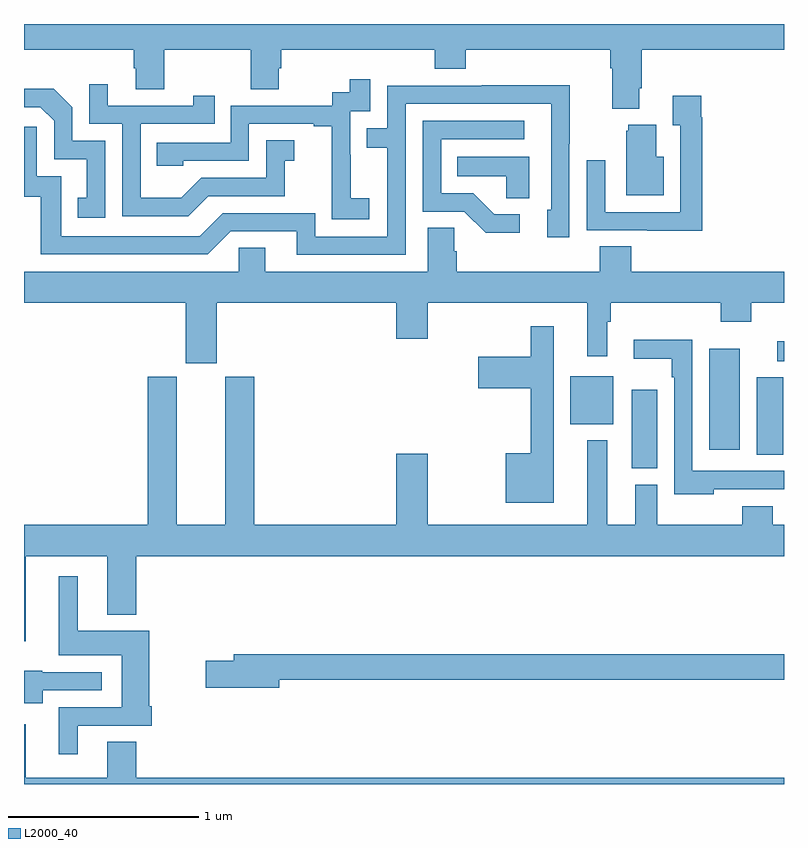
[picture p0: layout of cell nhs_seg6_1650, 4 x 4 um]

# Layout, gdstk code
import gdstk
lib = gdstk.Library(unit=1e-6, precision=1e-09)
def R(c, l, rs):  # rectangles x0, y0, x1, y1
    for r in rs: c.add(gdstk.rectangle(r[:2], r[2:], *l))
def P(c, l, *ps):  # polygons
    for p in ps: c.add(gdstk.Polygon(p, *l))
L2000_40 = (2000, 40)

nhs_seg6_1650 = lib.new_cell('nhs_seg6_1650')
R(nhs_seg6_1650, L2000_40, [(214.199,917.161,214.333,917.575), (214.856,917.233,214.996,917.641), (214.607,917.259,214.768,917.791), (213.875,917.393,214.102,917.647), (214.965,917.726,215,917.83)])
P(nhs_seg6_1650, L2000_40, [(214.237,919.162),(214.25,919.162),(214.25,919.364),(215,919.364),(215,919.5),(211,919.5),(211,919.364),(211.577,919.364),(211.577,919.266),(211.589,919.266),(211.589,919.156),(211.737,919.156),(211.737,919.364),(212.194,919.364),(212.194,919.156),(212.341,919.156),(212.341,919.266),(212.354,919.266),(212.354,919.364),(213.161,919.364),(213.161,919.265),(213.326,919.265),(213.326,919.364),(214.085,919.364),(214.085,919.268),(214.097,919.268),(214.097,919.055),(214.237,919.055)],
  [(212.818,918.583),(212.72,918.583),(212.72,918.812),(212.718,918.812),(212.718,919.041),(212.823,919.041),(212.823,919.21),(212.715,919.21),(212.715,919.14),(212.622,919.14),(212.622,919.071),(212.088,919.071),(212.088,918.876),(211.699,918.876),(211.699,918.753),(211.839,918.753),(211.839,918.78),(212.184,918.78),(212.184,918.975),(212.525,918.975),(212.525,918.963),(212.621,918.963),(212.621,918.679),(212.62,918.679),(212.62,918.473),(212.818,918.473)],
  [(211.969,918.594),(212.373,918.594),(212.373,918.779),(212.422,918.779),(212.422,918.889),(212.274,918.889),(212.274,918.69),(211.932,918.69),(211.828,918.586),(211.614,918.586),(211.614,918.975),(212.003,918.975),(212.003,919.123),(211.892,919.123),(211.892,919.071),(211.441,919.071),(211.441,919.183),(211.344,919.183),(211.344,918.975),(211.518,918.975),(211.518,918.489),(211.864,918.489)],
  [(213.009,919.08),(213.774,919.08),(213.774,918.522),(213.755,918.522),(213.755,918.378),(213.87,918.378),(213.87,918.871),(213.873,918.871),(213.873,919.178),(213.409,919.178),(213.409,919.176),(212.913,919.176),(212.913,918.951),(212.803,918.951),(212.803,918.85),(212.913,918.85),(212.913,918.381),(212.532,918.381),(212.532,918.504),(212.046,918.504),(211.926,918.384),(211.197,918.384),(211.197,918.699),(211.068,918.699),(211.068,918.958),(211,918.958),(211,918.591),(211.089,918.591),(211.089,918.288),(211.968,918.288),(212.088,918.408),(212.435,918.408),(212.435,918.285),(213.009,918.285)],
  [(211.428,918.885),(211.254,918.885),(211.254,919.062),(211.156,919.16),(211,919.16),(211,919.062),(211.086,919.062),(211.158,918.99),(211.158,918.789),(211.331,918.789),(211.331,918.585),(211.282,918.585),(211.282,918.48),(211.428,918.48)],
  [(214.571,919.01),(214.564,919.01),(214.564,919.123),(214.415,919.123),(214.415,918.967),(214.455,918.967),(214.455,918.51),(214.059,918.51),(214.059,918.784),(213.963,918.784),(213.963,918.414),(214.279,918.414),(214.279,918.413),(214.571,918.413)],
  [(213.61,918.498),(213.475,918.498),(213.364,918.609),(213.195,918.609),(213.195,918.894),(213.634,918.894),(213.634,918.99),(213.099,918.99),(213.099,918.513),(213.318,918.513),(213.431,918.401),(213.61,918.401)],
  [(214.366,918.802),(214.327,918.802),(214.327,918.97),(214.181,918.97),(214.181,918.939),(214.169,918.939),(214.169,918.599),(214.366,918.599)],
  [(213.658,918.802),(213.28,918.802),(213.28,918.698),(213.537,918.698),(213.537,918.583),(213.658,918.583)],
  [(212.014,918.032),(212.96,918.032),(212.96,917.844),(213.124,917.844),(213.124,918.032),(213.965,918.032),(213.965,917.751),(214.069,917.751),(214.069,917.932),(214.087,917.932),(214.087,918.032),(214.667,918.032),(214.667,917.933),(214.827,917.933),(214.827,918.032),(215,918.032),(215,918.196),(214.196,918.196),(214.196,918.329),(214.031,918.329),(214.031,918.196),(213.278,918.196),(213.278,918.305),(213.264,918.305),(213.264,918.428),(213.125,918.428),(213.125,918.196),(212.269,918.196),(212.269,918.323),(212.13,918.323),(212.13,918.196),(211,918.196),(211,918.032),(211.85,918.032),(211.85,917.715),(212.014,917.715)],
  [(213.787,917.908),(213.666,917.908),(213.666,917.749),(213.39,917.749),(213.39,917.584),(213.666,917.584),(213.666,917.242),(213.536,917.242),(213.536,916.979),(213.787,916.979)],
  [(214.629,917.052),(215,917.052),(215,917.148),(214.518,917.148),(214.518,917.837),(214.209,917.837),(214.209,917.738),(214.41,917.738),(214.41,917.642),(214.422,917.642),(214.422,917.024),(214.629,917.024)],
  [(211.009,916.7),(211.439,916.7),(211.439,916.391),(211.592,916.391),(211.592,916.7),(215,916.7),(215,916.864),(214.94,916.864),(214.94,916.963),(214.78,916.963),(214.78,916.864),(214.333,916.864),(214.333,917.076),(214.217,917.076),(214.217,916.864),(214.069,916.864),(214.069,917.308),(213.965,917.308),(213.965,916.864),(213.124,916.864),(213.124,917.239),(212.96,917.239),(212.96,916.864),(212.213,916.864),(212.213,917.643),(212.06,917.643),(212.06,916.864),(211.804,916.864),(211.804,917.643),(211.652,917.643),(211.652,916.864),(211,916.864),(211,916.251),(211.009,916.251)],
  [(211.282,915.807),(211.673,915.807),(211.673,915.91),(211.66,915.91),(211.66,916.306),(211.282,916.306),(211.282,916.594),(211.184,916.594),(211.184,916.178),(211.514,916.178),(211.514,915.903),(211.184,915.903),(211.184,915.657),(211.282,915.657)],
  [(212.344,916.048),(215,916.048),(215,916.184),(212.105,916.184),(212.105,916.148),(211.956,916.148),(211.956,916.006),(212.344,916.006)],
  [(211.099,915.993),(211.408,915.993),(211.408,916.089),(211.095,916.089),(211.095,916.097),(211,916.097),(211,915.926),(211.099,915.926)],
  [(215,915.532),(211.592,915.532),(211.592,915.722),(211.439,915.722),(211.439,915.532),(211.009,915.532),(211.009,915.814),(211,915.814),(211,915.5),(215,915.5)])

lib.write_gds('nhs_seg6_1650.gds')
